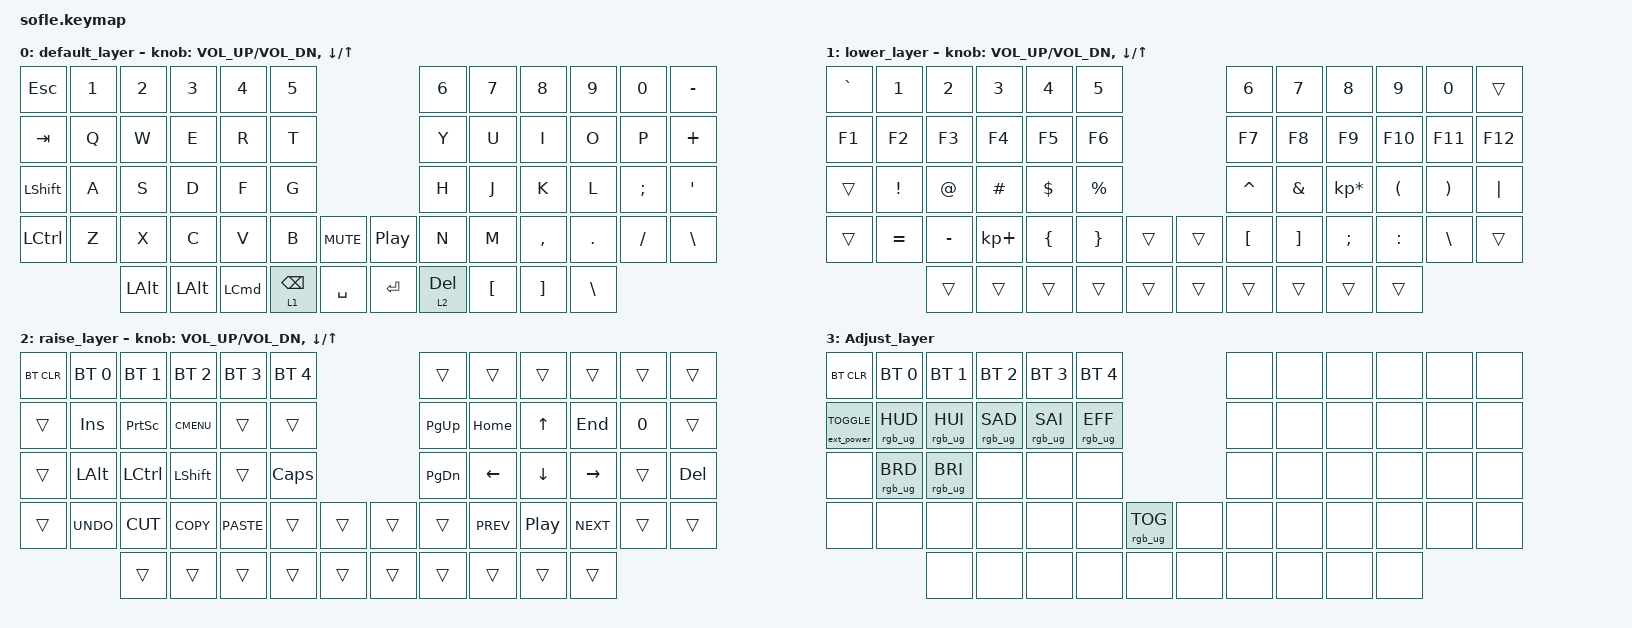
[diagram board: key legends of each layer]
/*
 * Copyright (c) 2020 The ZMK Contributors
 *
 * SPDX-License-Identifier: MIT
 */

#include <behaviors.dtsi>
#include <dt-bindings/zmk/bt.h>
#include <dt-bindings/zmk/ext_power.h>
#include <dt-bindings/zmk/keys.h>
#include <dt-bindings/zmk/rgb.h>

#define BASE 0
#define LOWER 1
#define RAISE 2
#define ADJUST 3

/ {
    // Activate ADJUST layer by pressing raise and lower

    conditional_layers {
        compatible = "zmk,conditional-layers";

        adjust_layer {
            if-layers = <LOWER RAISE>;
            then-layer = <ADJUST>;
        };
    };

    keymap {
        compatible = "zmk,keymap";

        default_layer {
            // ------------------------------------------------------------------------------------------------------------
            // |  ESC  |  1  |  2  |  3   |  4   |  5   |                   |  6   |  7    |  8    |  9   |   0   |   -   |
            // |  TAB  |  Q  |  W  |  E   |  R   |  T   |                   |  Y   |  U    |  I    |  O   |   P   | BKSPC |
            // | SHIFT |  A  |  S  |  D   |  F   |  G   |                   |  H   |  J    |  K    |  L   |   ;   |   '   |
            // | LCTRL |  Z  |  X  |  C   |  V   |  B   |  MUTE  |  |   PP  |  N   |  M    |  ,    |  .   |   /   | SHIFT |
            //               | LALT| GUI  | LOWER| SPACE|        |  |       | ENTER| UPPER |  [    |  ]   |

            bindings = <
&kp ESC    &kp N1  &kp N2    &kp N3    &kp N4            &kp N5                                    &kp N6        &kp N7    &kp N8     &kp N9    &kp N0    &kp MINUS
&kp TAB    &kp Q   &kp W     &kp E     &kp R             &kp T                                     &kp Y         &kp U     &kp I      &kp O     &kp P     &kp PLUS
&kp LSHFT  &kp A   &kp S     &kp D     &kp F             &kp G                                     &kp H         &kp J     &kp K      &kp L     &kp SEMI  &kp SQT
&kp LCTRL  &kp Z   &kp X     &kp C     &kp V             &kp B            &kp C_MUTE    &kp C_PP   &kp N         &kp M     &kp COMMA  &kp DOT   &kp FSLH  &kp BACKSLASH
                   &kp LALT  &kp LALT  &kp LEFT_COMMAND  &lt 1 BACKSPACE  &kp SPACE     &kp ENTER  &lt 2 DELETE  &kp LBKT  &kp RBKT   &kp BSLH
            >;

            sensor-bindings = <&inc_dec_kp C_VOL_UP C_VOL_DN>, <&inc_dec_kp DOWN UP>;
        };

        lower_layer {
            // TODO: Some binds are waiting for shifted keycode support.
            // ------------------------------------------------------------------------------------------------------------
            // | `     |  1  |  2  |  3   |  4   |  5   |                   |  6   |  7    |  8    |  9   |  0    |       |
            // | F1    |  F2 |  F3 |  F4  |  F5  |  F6  |                   |  F7  |  F8   |  F9   |  F10 |  F11  |  F12  |
            // |       |  !  |  @  |  #   |  $   |  %   |                   |  ^   |  &    |  *    |  (   |   )   |   |   |
            // |       |  =  |  -  |  +   |  {   |  }   |        |  |       |  [   |  ]    |  ;    |  :   |   \   |       |
            //               |     |      |      |      |        |  |       |      |       |       |      |

            bindings = <
&kp GRAVE  &kp N1     &kp N2     &kp N3       &kp N4    &kp N5                       &kp N6     &kp N7    &kp N8           &kp N9     &kp N0    &trans
&kp F1     &kp F2     &kp F3     &kp F4       &kp F5    &kp F6                       &kp F7     &kp F8    &kp F9           &kp F10    &kp F11   &kp F12
&trans     &kp EXCL   &kp AT     &kp HASH     &kp DLLR  &kp PRCNT                    &kp CARET  &kp AMPS  &kp KP_MULTIPLY  &kp LPAR   &kp RPAR  &kp PIPE
&trans     &kp EQUAL  &kp MINUS  &kp KP_PLUS  &kp LBRC  &kp RBRC   &trans    &trans  &kp LBKT   &kp RBKT  &kp SEMI         &kp COLON  &kp BSLH  &trans
                      &trans     &trans       &trans    &trans     &trans    &trans  &trans     &trans    &trans           &trans
            >;

            sensor-bindings = <&inc_dec_kp C_VOL_UP C_VOL_DN>, <&inc_dec_kp DOWN UP>;
        };

        raise_layer {
            // ------------------------------------------------------------------------------------------------------------
            // |BTCLR| BT1  | BT2  |  BT3  |  BT4  |  BT5 |                |      |      |       |      |       |       |
            // |     | INS  | PSCR | GUI   |       |      |                |PG_UP | HOME |  ↑    | END  |       |       |
            // |     | ALT  | CTRL | SHIFT |       | CAPS |                |PG_DN |  <   |   ↓   |  ->  |       |  DEL  |
            // |     | UNDO | CUT  | COPY  | PASTE |      |      |  |      |      | Prev | Play  | Next |       |       |
            //              |      |       |       |      |      |  |      |      |      |       |      |

            bindings = <
&bt BT_CLR  &bt BT_SEL 0  &bt BT_SEL 1  &bt BT_SEL 2  &bt BT_SEL 3  &bt BT_SEL 4                    &trans     &trans      &trans    &trans      &trans  &trans
&trans      &kp INS       &kp PSCRN     &kp K_CMENU   &trans        &trans                          &kp PG_UP  &kp HOME    &kp UP    &kp END     &kp N0  &trans
&trans      &kp LALT      &kp LCTRL     &kp LSHFT     &trans        &kp CLCK                        &kp PG_DN  &kp LEFT    &kp DOWN  &kp RIGHT   &trans  &kp DEL
&trans      &kp K_UNDO    &kp K_CUT     &kp K_COPY    &kp K_PASTE   &trans        &trans    &trans  &trans     &kp C_PREV  &kp C_PP  &kp C_NEXT  &trans  &trans
                          &trans        &trans        &trans        &trans        &trans    &trans  &trans     &trans      &trans    &trans
            >;

            sensor-bindings = <&inc_dec_kp C_VOL_UP C_VOL_DN>, <&inc_dec_kp DOWN UP>;
        };

        // ------------------------------------------------------------------------------------------------------------
        // |BTCLR | BT1   | BT2   |  BT3  |  BT4  |  BT5  |                |      |      |       |      |       |       |
        // |EXTPWR|RGB_HUD|RGB_HUI|RGB_SAD|RGB_SAI|RGB_EFF|                |      |      |       |      |       |       |
        // |      |RGB_BRD|RGB_BRI|       |       |       |                |      |      |       |      |       |       |
        // |      |       |       |       |       |       |RGB_TOG| |      |      |      |       |      |       |       |
        //                |       |       |       |       |       | |      |      |      |       |      |

        Adjust_layer {
            bindings = <
&bt BT_CLR                       &bt BT_SEL 0     &bt BT_SEL 1     &bt BT_SEL 2     &bt BT_SEL 3     &bt BT_SEL 4                               &none  &none  &none  &none  &none  &none
&ext_power EXT_POWER_TOGGLE_CMD  &rgb_ug RGB_HUD  &rgb_ug RGB_HUI  &rgb_ug RGB_SAD  &rgb_ug RGB_SAI  &rgb_ug RGB_EFF                            &none  &none  &none  &none  &none  &none
&none                            &rgb_ug RGB_BRD  &rgb_ug RGB_BRI  &none            &none            &none                                      &none  &none  &none  &none  &none  &none
&none                            &none            &none            &none            &none            &none            &rgb_ug RGB_TOG    &none  &none  &none  &none  &none  &none  &none
                                                  &none            &none            &none            &none            &none              &none  &none  &none  &none  &none
            >;
        };
    };
};
